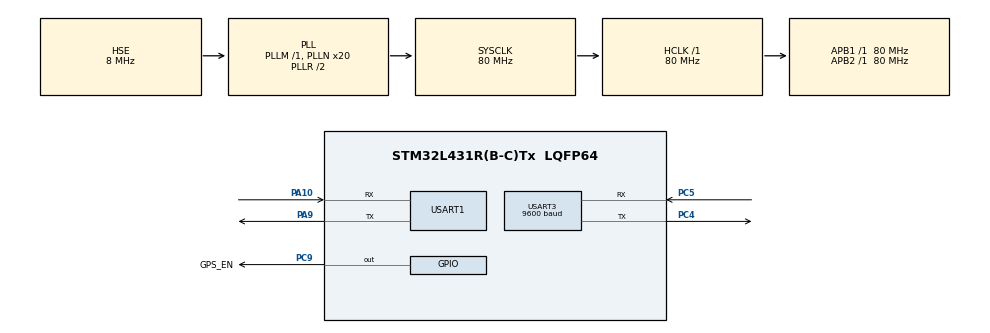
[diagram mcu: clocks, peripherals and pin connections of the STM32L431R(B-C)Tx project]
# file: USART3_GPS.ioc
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Mcu.Family=STM32L4
Mcu.Name=STM32L431R(B-C)Tx
Mcu.Package=LQFP64
NVIC.PriorityGroup=NVIC_PRIORITYGROUP_4
NVIC.USART3_IRQn=true\:5\:0\:true\:false\:true\:true\:true
PA10.Mode=Asynchronous
PA10.Signal=USART1_RX
PA9.Mode=Asynchronous
PA9.Signal=USART1_TX
PC14-OSC32_IN\ (PC14).Mode=LSE-External-Oscillator
PC14-OSC32_IN\ (PC14).Signal=RCC_OSC32_IN
PC15-OSC32_OUT\ (PC15).Mode=LSE-External-Oscillator
PC15-OSC32_OUT\ (PC15).Signal=RCC_OSC32_OUT
PC4.Mode=Asynchronous
PC4.Signal=USART3_TX
PC5.Mode=Asynchronous
PC5.Signal=USART3_RX
PC9.GPIO_Label=GPS_EN
PC9.Signal=GPIO_Output
PH0-OSC_IN\ (PH0).Mode=HSE-External-Oscillator
PH0-OSC_IN\ (PH0).Signal=RCC_OSC_IN
PH1-OSC_OUT\ (PH1).Mode=HSE-External-Oscillator
PH1-OSC_OUT\ (PH1).Signal=RCC_OSC_OUT
ProjectManager.HeapSize=0x200
ProjectManager.StackSize=0x400
ProjectManager.TargetToolchain=SW4STM32
RCC.ADCFreq_Value=32000000
RCC.AHBFreq_Value=80000000
RCC.APB1Freq_Value=80000000
RCC.APB1TimFreq_Value=80000000
RCC.APB2Freq_Value=80000000
RCC.APB2TimFreq_Value=80000000
RCC.CortexFreq_Value=80000000
RCC.HCLKFreq_Value=80000000
RCC.HSE_VALUE=8000000
RCC.HSI48_VALUE=48000000
RCC.HSI_VALUE=16000000
RCC.MSI_VALUE=4000000
RCC.PLLN=20
RCC.PLLSourceVirtual=RCC_PLLSOURCE_HSE
RCC.SYSCLKFreq_VALUE=80000000
RCC.SYSCLKSource=RCC_SYSCLKSOURCE_PLLCLK
RCC.VCOOutputFreq_Value=160000000
USART1.VirtualMode-Asynchronous=VM_ASYNC
USART3.BaudRate=9600
USART3.VirtualMode-Asynchronous=VM_ASYNC
board=custom

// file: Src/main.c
/* USER CODE BEGIN Header */
/**
  ******************************************************************************
  * @file           : main.c
  * @brief          : Main program body
  ******************************************************************************
  * @attention
  *
  * <h2><center>&copy; Copyright (c) 2020 STMicroelectronics.
  * All rights reserved.</center></h2>
  *
  * This software component is licensed by ST under BSD 3-Clause license,
  * the "License"; You may not use this file except in compliance with the
  * License. You may obtain a copy of the License at:
  *                        opensource.org/licenses/BSD-3-Clause
  *
  ******************************************************************************
  */
/* USER CODE END Header */

#include "main.h"
#include "usart.h"
#include "gpio.h"
#include "GPSDefine.h"

/* USER CODE BEGIN Includes */

gps_msg  gpsMsg;
E53_ST1_Data_TypeDef E53_ST1_Data;
unsigned char gps_uart[1000];

#if 1
#include <stdio.h>

int _write(int fd, char *ptr, int len)
{
    HAL_UART_Transmit(&huart1, (uint8_t*)ptr, len, 0xFFFF);
    return len;
}
#endif
/* USER CODE END Includes */

/* USER CODE BEGIN PTD */
void PrintFloat(float value)
{
    int tmp,tmp1,tmp2,tmp3,tmp4,tmp5,tmp6;
    tmp = (int)value;
    tmp1=(int)((value-tmp)*10)%10;
    tmp2=(int)((value-tmp)*100)%10;
    tmp3=(int)((value-tmp)*1000)%10;
    tmp4=(int)((value-tmp)*10000)%10;
    tmp5=(int)((value-tmp)*100000)%10;
    tmp6=(int)((value-tmp)*1000000)%10;
    printf("%d.%d%d%d%d%d%d",tmp,tmp1,tmp2,tmp3,tmp4,tmp5,tmp6);
}

void recurParse(int n, char** str, unsigned int* restSize) {
    if (n < 10) {
        if (*restSize > 1) {
            **str = n + '0';
            (*str)++;
            *restSize -= 1;
        }

    }
    else {
        recurParse(n / 10, str, restSize);
        if (*restSize > 1) {
            **str = n % 10 + '0';
            (*str)++;
            *restSize -= 1;
        }
    }
}
int float2String(char* outBuffer, unsigned int bufferSize, float in, unsigned int decCount) {
    int n;
    float dec;
    unsigned int restSize = bufferSize;
    if (restSize == 0) return 0;
    n = (int)in;
    dec = in - n;
    if (in < 0) {
        if (restSize > 1 && !(n == 0 && decCount == 0)) {
            *outBuffer++ = '-';
            --restSize;
        }
        n = -n;
    }
    if (dec < 0) {
        dec = -dec;
    }
    recurParse(n, &outBuffer, &restSize);
    if (decCount != 0) {
        if (restSize > 1) {
            *outBuffer++ = '.';
            --restSize;
        }
    }
    while (decCount) {
        dec *= 10;
        n = (int)dec;
        dec -= n;
        if (restSize > 1) {
            *outBuffer++ = n + '0';
            --restSize;
        }
        else {
            break;
        }
        decCount -= 1;
    }
    *outBuffer++ = NULL;
    return bufferSize - restSize;
}
/* USER CODE END PTD */

void SystemClock_Config(void);

int main(void)
{
  /* USER CODE BEGIN 1 */
  char Longitude[32] = {0};
  char Latitude[32] = {0};
  /* USER CODE END 1 */

  /* MCU Configuration--------------------------------------------------------*/

  /* Reset of all peripherals, Initializes the Flash interface and the Systick. */
  HAL_Init();

  /* Configure the system clock */
  SystemClock_Config();

  /* Initialize all configured peripherals */
  MX_GPIO_Init();
  MX_USART1_UART_Init();
  MX_USART3_UART_Init();
  /* USER CODE BEGIN 2 */

  /*使能USART3接收中断*/
  HAL_UART_Receive_IT(&huart3, (uint8_t*)gps_uart, 1);
  /*使能GPS模块*/
  printf("L80-R GPS Module test...\n");
  HAL_GPIO_WritePin(GPS_EN_GPIO_Port, GPS_EN_Pin, GPIO_PIN_RESET);
  printf("GPS Enable OK.\n");

  /* USER CODE END 2 */

  /* Infinite loop */
  while (1)
  {
    E53_ST1_Read_Data();
    float2String(Longitude, sizeof(Longitude)/sizeof(char), E53_ST1_Data.Longitude, 6);
    float2String(Latitude, sizeof(Latitude)/sizeof(char), E53_ST1_Data.Latitude, 6);
    //printf("%d\n",gpsMsg.latitude_bd);
    //PrintFloat(E53_ST1_Data.Latitude);
    printf("Longitude经度: %s, Latitude纬度: %s.\r\n", Longitude, Latitude);
    HAL_Delay(2000);
  }
}

void SystemClock_Config(void)
{
  RCC_OscInitTypeDef RCC_OscInitStruct = {0};
  RCC_ClkInitTypeDef RCC_ClkInitStruct = {0};
  RCC_PeriphCLKInitTypeDef PeriphClkInit = {0};

  /** Initializes the CPU, AHB and APB busses clocks
  */
  RCC_OscInitStruct.OscillatorType = RCC_OSCILLATORTYPE_HSE;
  RCC_OscInitStruct.HSEState = RCC_HSE_ON;
  RCC_OscInitStruct.PLL.PLLState = RCC_PLL_ON;
  RCC_OscInitStruct.PLL.PLLSource = RCC_PLLSOURCE_HSE;
  RCC_OscInitStruct.PLL.PLLM = 1;
  RCC_OscInitStruct.PLL.PLLN = 20;
  RCC_OscInitStruct.PLL.PLLP = RCC_PLLP_DIV7;
  RCC_OscInitStruct.PLL.PLLQ = RCC_PLLQ_DIV2;
  RCC_OscInitStruct.PLL.PLLR = RCC_PLLR_DIV2;
  if (HAL_RCC_OscConfig(&RCC_OscInitStruct) != HAL_OK)
  {
    Error_Handler();
  }
  /** Initializes the CPU, AHB and APB busses clocks
  */
  RCC_ClkInitStruct.ClockType = RCC_CLOCKTYPE_HCLK|RCC_CLOCKTYPE_SYSCLK
                              |RCC_CLOCKTYPE_PCLK1|RCC_CLOCKTYPE_PCLK2;
  RCC_ClkInitStruct.SYSCLKSource = RCC_SYSCLKSOURCE_PLLCLK;
  RCC_ClkInitStruct.AHBCLKDivider = RCC_SYSCLK_DIV1;
  RCC_ClkInitStruct.APB1CLKDivider = RCC_HCLK_DIV1;
  RCC_ClkInitStruct.APB2CLKDivider = RCC_HCLK_DIV1;

  if (HAL_RCC_ClockConfig(&RCC_ClkInitStruct, FLASH_LATENCY_4) != HAL_OK)
  {
    Error_Handler();
  }
  PeriphClkInit.PeriphClockSelection = RCC_PERIPHCLK_USART1|RCC_PERIPHCLK_USART3;
  PeriphClkInit.Usart1ClockSelection = RCC_USART1CLKSOURCE_PCLK2;
  PeriphClkInit.Usart3ClockSelection = RCC_USART3CLKSOURCE_PCLK1;
  if (HAL_RCCEx_PeriphCLKConfig(&PeriphClkInit) != HAL_OK)
  {
    Error_Handler();
  }
  /** Configure the main internal regulator output voltage
  */
  if (HAL_PWREx_ControlVoltageScaling(PWR_REGULATOR_VOLTAGE_SCALE1) != HAL_OK)
  {
    Error_Handler();
  }
}

/* USER CODE BEGIN 4 */
/*中断回调函数*/
//void HAL_UART_RxCpltCallback(UART_HandleTypeDef *huart)
//{
//    static uint8_t  ch;
//    /*判断是哪个串口触发的中断*/
//    if(huart->Instance == USART3){
//        //printf("USART3 Recv...");
//        //将接收的数据发送
//        HAL_UART_Transmit(&huart1, &ch, 1, 0xffff);
//        //重新使能串口接收中断
//        HAL_UART_Receive_IT(&huart3, &ch, 1);
//    }
//}

/* USER CODE END 4 */

void Error_Handler(void)
{
}

/************************ (C) COPYRIGHT STMicroelectronics *****END OF FILE****/
